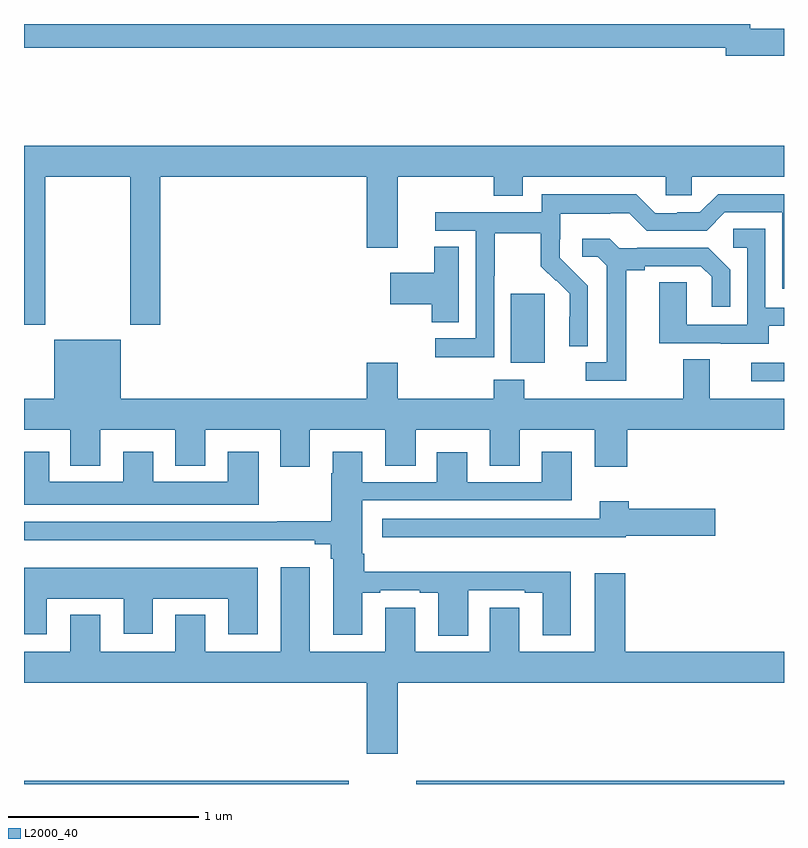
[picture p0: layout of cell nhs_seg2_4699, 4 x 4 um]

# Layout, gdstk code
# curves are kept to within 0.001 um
import gdstk
lib = gdstk.Library(unit=1e-6, precision=1e-09)
def R(c, l, rs):  # rectangles x0, y0, x1, y1
    for r in rs: c.add(gdstk.rectangle(r[:2], r[2:], *l))
def P(c, l, *ps):  # polygons
    for p in ps: c.add(gdstk.Polygon(p, *l))
L2000_40 = (2000, 40)

nhs_seg2_4699 = lib.new_cell('nhs_seg2_4699')
R(nhs_seg2_4699, L2000_40, [(367,617.8,368.708,617.816), (369.064,617.8,371,617.816), (370.827,619.92,371,620.016), (369.563,620.018,369.742,620.379)])
P(nhs_seg2_4699, L2000_40, [(371,621.776),(370.822,621.776),(370.822,621.8),(367,621.8),(367,621.676),(370.694,621.676),(370.694,621.634),(371,621.634)],
  [(367.113,620.996),(367.558,620.996),(367.558,620.217),(367.718,620.217),(367.718,620.996),(368.804,620.996),(368.804,620.622),(368.968,620.622),(368.968,620.996),(369.473,620.996),(369.473,620.897),(369.625,620.897),(369.625,620.996),(370.377,620.996),(370.377,620.898),(370.515,620.898),(370.515,620.996),(371,620.996),(371,621.16),(367,621.16),(367,620.217),(367.113,620.217)],
  [(369.474,620.476),(369.477,620.476),(369.477,620.7),(369.721,620.7),(369.721,620.525),(369.798,620.448),(369.801,620.451),(369.872,620.381),(369.872,620.258),(369.87,620.258),(369.87,620.104),(369.966,620.104),(369.966,620.422),(369.82,620.57),(369.82,620.667),(369.822,620.667),(369.822,620.801),(370.085,620.801),(370.085,620.805),(370.185,620.805),(370.278,620.712),(370.593,620.712),(370.689,620.808),(370.992,620.808),(370.992,620.406),(371,620.406),(371,620.904),(370.653,620.904),(370.557,620.808),(370.439,620.808),(370.439,620.805),(370.323,620.805),(370.223,620.905),(369.726,620.905),(369.726,620.808),(369.165,620.808),(369.165,620.712),(369.378,620.712),(369.378,620.145),(369.165,620.145),(369.165,620.047),(369.474,620.047)],
  [(370.921,620.211),(371,620.211),(371,620.307),(370.902,620.307),(370.902,620.723),(370.734,620.723),(370.734,620.622),(370.806,620.622),(370.806,620.217),(370.488,620.217),(370.488,620.441),(370.343,620.441),(370.343,620.121),(370.667,620.121),(370.667,620.117),(370.921,620.117)],
  [(370.171,620.504),(370.267,620.504),(370.267,620.526),(370.562,620.526),(370.619,620.469),(370.619,620.313),(370.716,620.313),(370.716,620.506),(370.6,620.622),(370.228,620.622),(370.228,620.619),(370.134,620.619),(370.082,620.671),(369.939,620.671),(369.939,620.574),(370.02,620.574),(370.067,620.527),(370.067,620.019),(369.957,620.019),(369.957,619.923),(370.171,619.923)],
  [(369.289,620.627),(369.158,620.627),(369.158,620.491),(368.928,620.491),(368.928,620.326),(369.146,620.326),(369.146,620.23),(369.289,620.23)],
  [(368.503,619.664),(368.9,619.664),(368.9,619.474),(369.061,619.474),(369.061,619.664),(369.452,619.664),(369.452,619.474),(369.61,619.474),(369.61,619.664),(370.004,619.664),(370.004,619.47),(370.175,619.47),(370.175,619.664),(371,619.664),(371,619.828),(370.609,619.828),(370.609,620.036),(370.469,620.036),(370.469,619.828),(369.633,619.828),(369.633,619.927),(369.473,619.927),(369.473,619.828),(368.968,619.828),(368.968,620.017),(368.804,620.017),(368.804,619.828),(367.51,619.828),(367.51,620.137),(367.16,620.137),(367.16,619.828),(367,619.828),(367,619.664),(367.244,619.664),(367.244,619.475),(367.402,619.475),(367.402,619.664),(367.796,619.664),(367.796,619.475),(367.954,619.475),(367.954,619.664),(368.348,619.664),(368.348,619.47),(368.503,619.47)],
  [(369.337,618.819),(369.635,618.819),(369.635,618.807),(369.731,618.807),(369.731,618.582),(369.877,618.582),(369.877,618.917),(368.792,618.917),(368.792,619.012),(368.779,619.012),(368.779,619.293),(369.883,619.293),(369.883,619.549),(369.725,619.549),(369.725,619.389),(369.334,619.389),(369.334,619.546),(369.173,619.546),(369.173,619.389),(368.779,619.389),(368.779,619.549),(368.624,619.549),(368.624,619.436),(368.617,619.436),(368.617,619.184),(368.332,619.184),(368.332,619.179),(367,619.179),(367,619.082),(368.531,619.082),(368.531,619.063),(368.615,619.063),(368.615,618.986),(368.627,618.986),(368.627,618.585),(368.779,618.585),(368.779,618.807),(368.875,618.807),(368.875,618.819),(369.083,618.819),(369.083,618.807),(369.179,618.807),(369.179,618.581),(369.337,618.581)],
  [(368.236,619.549),(368.072,619.549),(368.072,619.39),(367.681,619.39),(367.681,619.549),(367.523,619.549),(367.523,619.39),(367.132,619.39),(367.132,619.549),(367,619.549),(367,619.271),(368.236,619.271)],
  [(370.167,619.106),(370.639,619.106),(370.639,619.248),(370.184,619.248),(370.184,619.288),(370.031,619.288),(370.031,619.197),(368.886,619.197),(368.886,619.1),(370.167,619.1)],
  [(368.968,618.332),(371,618.332),(371,618.496),(370.165,618.496),(370.165,618.91),(370.004,618.91),(370.004,618.496),(369.607,618.496),(369.607,618.727),(369.452,618.727),(369.452,618.496),(369.058,618.496),(369.058,618.727),(368.9,618.727),(368.9,618.496),(368.503,618.496),(368.503,618.94),(368.351,618.94),(368.351,618.496),(367.954,618.496),(367.954,618.691),(367.796,618.691),(367.796,618.496),(367.402,618.496),(367.402,618.691),(367.244,618.691),(367.244,618.496),(367,618.496),(367,618.332),(368.804,618.332),(368.804,617.958),(368.968,617.958)],
  [(367.12,618.776),(367.526,618.776),(367.526,618.591),(367.678,618.591),(367.678,618.776),(368.075,618.776),(368.075,618.588),(368.23,618.588),(368.23,618.937),(367,618.937),(367,618.588),(367.12,618.588)])

lib.write_gds('nhs_seg2_4699.gds')
